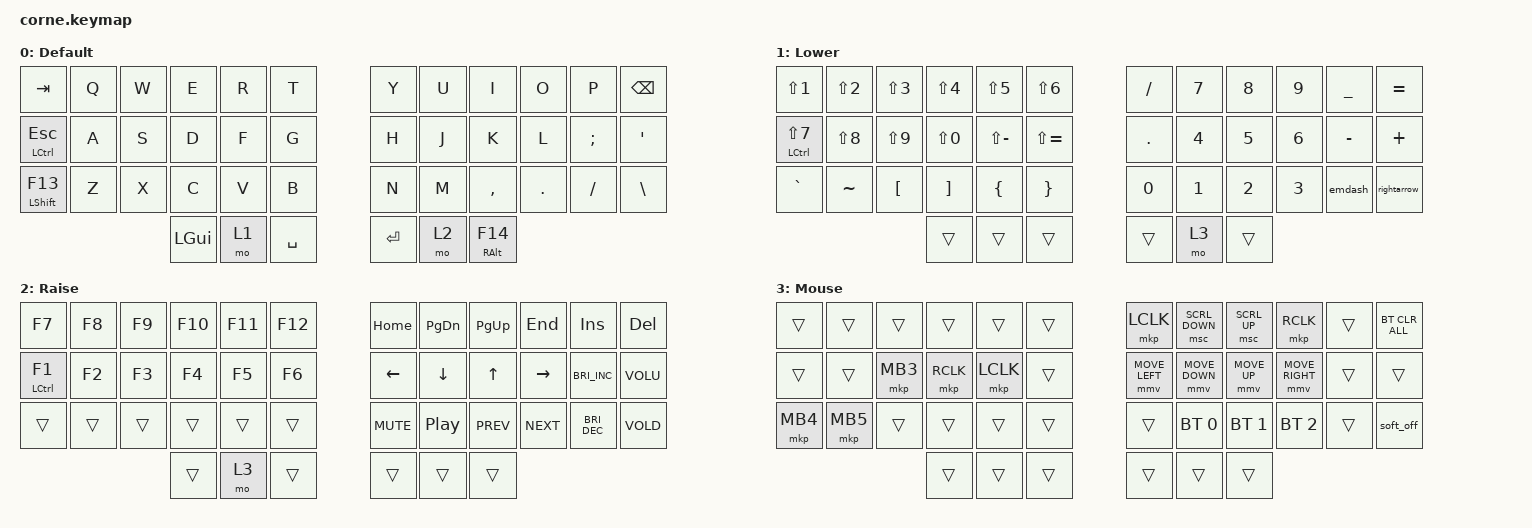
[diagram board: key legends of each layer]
#include <behaviors.dtsi>
#include <dt-bindings/zmk/bt.h>
#include <dt-bindings/zmk/keys.h>
#include <dt-bindings/zmk/pointing.h>

/ {
	behaviors {
		emdash: emdash {
			compatible = "zmk,behavior-macro";
			label = "EMDASH";
			#binding-cells = <0>;
			wait-ms = <5>;
			bindings = <&macro_tap &kp PAUSE_BREAK &kp MINUS &kp MINUS &kp MINUS>;   // pause=compose, --- → —
		};
		rightarrow: rightarrow {
			compatible = "zmk,behavior-macro";
			label = "RIGHTARROW";
			#binding-cells = <0>;
			wait-ms = <5>;
			bindings = <&macro_tap &kp PAUSE_BREAK &kp MINUS &kp LS(DOT)>;   // pause=compose, -> → →
		};
	};

	keymap {
		compatible = "zmk,keymap";

		default_layer {
			display-name = "Default";
			bindings = <
				&kp TAB   &kp Q &kp W &kp E &kp R &kp T   &kp Y &kp U &kp I &kp O &kp P    &kp BSPC
				&mt LCTRL ESC &kp A &kp S &kp D &kp F &kp G   &kp H &kp J &kp K &kp L &kp SEMI &kp SQT
				&mt LSHIFT F13 &kp Z &kp X &kp C &kp V &kp B   &kp N &kp M &kp COMMA &kp DOT &kp FSLH &kp BSLH
				        &kp LGUI &mo 1 &kp SPACE   &kp RET &mo 2 &mt RALT F14
			>;
		};

		lower_layer {
			display-name = "Lower";
			bindings = <
				&kp LS(N1) &kp LS(N2) &kp LS(N3) &kp LS(N4) &kp LS(N5) &kp LS(N6)   &kp FSLH &kp N7 &kp N8 &kp N9 &kp UNDERSCORE &kp EQUAL
				&mt LCTRL LS(N7) &kp LS(N8) &kp LS(N9) &kp LS(N0) &kp LS(MINUS) &kp LS(EQUAL)   &kp DOT &kp N4 &kp N5 &kp N6 &kp MINUS &kp PLUS
				&kp GRAVE &kp TILDE &kp LBKT &kp RBKT &kp LBRC &kp RBRC   &kp N0 &kp N1 &kp N2 &kp N3 &emdash &rightarrow
				        &trans &trans &trans   &trans &mo 3 &trans
			>;
		};

		raise_layer {
			display-name = "Raise";
			bindings = <
				&kp F7 &kp F8 &kp F9 &kp F10 &kp F11 &kp F12   &kp HOME &kp PG_DN &kp PG_UP &kp END &kp INS &kp DEL
				&mt LCTRL F1 &kp F2 &kp F3 &kp F4 &kp F5 &kp F6   &kp LEFT &kp DOWN &kp UP &kp RIGHT &kp C_BRI_INC &kp VOLU
				&trans &trans &trans &trans &trans &trans   &kp C_MUTE &kp C_PLAY_PAUSE &kp C_PREV &kp C_NEXT &kp C_BRI_DEC &kp VOLD
				        &trans &mo 3 &trans   &trans &trans &trans
			>;
		};

		mouse_layer {
			display-name = "Mouse";
			bindings = <
				&trans &trans &trans &trans &trans &trans   &mkp LCLK &msc SCRL_DOWN &msc SCRL_UP &mkp RCLK &trans &bt BT_CLR_ALL   // BSPC=clear all BT bonds
				&trans &trans &mkp MB3 &mkp RCLK &mkp LCLK &trans   &mmv MOVE_LEFT &mmv MOVE_DOWN &mmv MOVE_UP &mmv MOVE_RIGHT &trans &trans
				&mkp MB4 &mkp MB5 &trans &trans &trans &trans   &trans &bt BT_SEL 0 &bt BT_SEL 1 &bt BT_SEL 2 &trans &soft_off   // M=laptop(0), ,=phone(1), .=tablet(2), \=soft off
				        &trans &trans &trans   &trans &trans &trans
			>;
		};
	};
};

&mt {
	hold-while-undecided;
};
